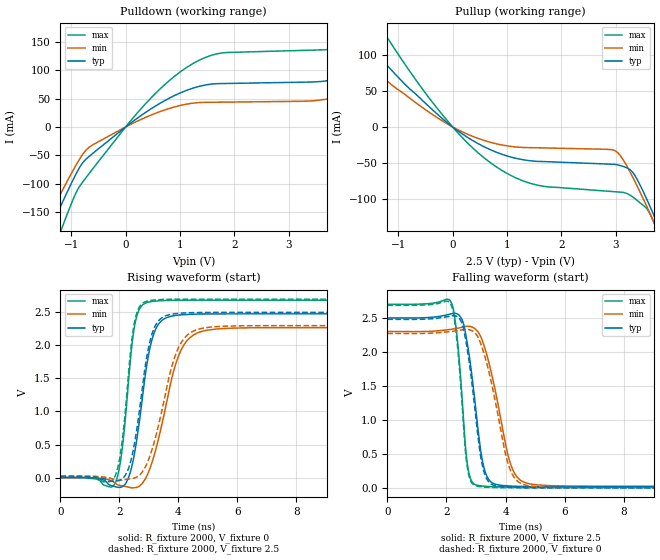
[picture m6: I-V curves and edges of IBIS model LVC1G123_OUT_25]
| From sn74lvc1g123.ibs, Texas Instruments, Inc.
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[Model]   LVC1G123_OUT_25
Model_type  Output
Vref =   0
Rref =   500
Cref =   30p
Vmeas =   1.25
| variable   typ   min   max
C_comp   9.38pF   6.03pF   13.65pF
| C_pullup   9.34pF   6.03pF   10.92pF
| C_pulldown   9.42pF   6.55pF   13.65pF
[Temperature Range]   40   100   -40
| Ambient temperature   25   85   -40
[Voltage range]   2.5   2.3   2.7
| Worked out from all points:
|   slope of the pulldown table from 0 to 0.375 V, typ, clamps not added: 14.3 ohm
|   slope of the pullup table from 0 to 0.375 V, typ, clamps not added: 19.7 ohm
|   rising waveform, R_fixture 2000, V_fixture 0: 20-80 % time 485ps typ, 735ps min, 342ps max; typ from 0 V to 2.48 V
|   falling waveform, R_fixture 2000, V_fixture 2.5: 20-80 % time 420ps typ, 650ps min, 282ps max; typ from 2.5 V to 0.017 V
|   rising waveform, R_fixture 2000, V_fixture 2.5: 20-80 % time 495ps typ, 751ps min, 352ps max; typ from 0.017 V to 2.5 V
|   falling waveform, R_fixture 2000, V_fixture 0: 20-80 % time 421ps typ, 650ps min, 284ps max; typ from 2.48 V to 0 V
[Pulldown]
| LVC1G123_OUT_25
|   Voltage   I(typ)   I(min)   I(max)
-5.5V     -1.031A    -921.5mA   -1.23A
-1.535V   -211.2mA   -180.9mA   -270.7mA
-1.275V   -156.2mA   -132.3mA   -204.1mA
-675mV    -52.23mA   -36.01mA   -82.52mA
490mV     33.46mA    21.9mA     53.61mA
1.36V     71.81mA    43.09mA    118.1mA
3.82V     83.35mA    51.4mA     137.7mA
5.34V     148.9mA    100.4mA    218.6mA
5.845V    177.5mA    48.83mA    262.4mA
6.525V    87.03mA    49.33mA    283.9mA
7.56V     87.48mA    50.23mA    150.1mA
11V       92.62mA    53.44mA    157.7mA
[Pullup]
| LVC1G123_OUT_25
|   Voltage   I(typ)   I(min)   I(max)
-5.5V     516.2mA    405.2mA    722.5mA
-2.33V    185.5mA    141.9mA    265.4mA
-1.875V   143.2mA    108.6mA    206mA
-1.315V   94.24mA    70.54mA    136.9mA
-220mV    13.67mA    9.851mA    19.84mA
735mV     -32.79mA   -22.02mA   -51.56mA
1.56V     -47.6mA    -28.83mA   -80.48mA
2.98V     -51.75mA   -32.61mA   -89.53mA
3.33V     -64.47mA   -71.92mA   -97.68mA
3.575V    -100.5mA   -110.4mA   -113.4mA
3.755V    -131.5mA   -140.1mA   -141.7mA
11V       -1.574A    -1.467A    -1.79A
[Ramp]
| LVC1G123_OUT_25
| variable   typ   min   max
dV/dt_r   1.58/5.17E-10   1.45/7.88E-10   1.70/3.67E-10
dV/dt_f   1.53/4.40E-10   1.41/6.82E-10   1.66/3.01E-10
R_load = 2000
[Rising Waveform]
| LVC1G123_OUT_25
R_fixture =   2000
C_fixture =   0
L_fixture =   0
V_fixture =   0
V_fixture_min = 0
V_fixture_max = 0
|   Time   V(typ)   V(min)   V(max)
0s        137.2pV    6.695nV    2.442nV
1.85ns    -136.8mV   -80.98mV   -87.8mV
2.09ns    -138.8mV   -125.3mV   416.2mV
2.405ns   139.1mV    -154.6mV   1.926V
2.525ns   397.1mV    -152.6mV   2.318V
3.015ns   1.917V     113.3mV    2.658V
3.37ns    2.346V     666.8mV    2.676V
4.03ns    2.459V     1.866V     2.683V
4.98ns    2.475V     2.231V     2.684V
29.99ns   2.477V     2.27V      2.684V
[Falling Waveform]
| LVC1G123_OUT_25
R_fixture =   2000
C_fixture =   0
L_fixture =   0
V_fixture =   2.5
V_fixture_min = 2.3
V_fixture_max = 2.7
|   Time   V(typ)   V(min)   V(max)
0s        2.5V       2.3V       2.7V
2.16ns    2.56V      2.332V     2.728V
2.37ns    2.558V     2.348V     2.175V
2.705ns   2.125V     2.377V     356.6mV
3.045ns   946.9mV    2.308V     38.38mV
3.235ns   360mV      2.137V     26.34mV
3.465ns   104.3mV    1.79V      19.23mV
4.175ns   27mV       342.3mV    12.61mV
4.82ns    19.46mV    58.28mV    11.6mV
29.99ns   16.6mV     22.89mV    11.25mV
[Rising Waveform]
| LVC1G123_OUT_25
R_fixture =   2000
C_fixture =   0
L_fixture =   0
V_fixture =   2.5
V_fixture_min = 2.3
V_fixture_max = 2.7
|   Time   V(typ)   V(min)   V(max)
0s        16.56mV    22.83mV    11.23mV
1.835ns   -52.68mV   -30.67mV   5.6mV
2.08ns    -22.76mV   -38.28mV   500.5mV
2.51ns    510.5mV    -6.638mV   2.342V
2.695ns   1.065V     43.43mV    2.593V
3ns       1.991V     284mV      2.676V
3.325ns   2.372V     787mV      2.692V
3.965ns   2.483V     1.925V     2.699V
4.885ns   2.498V     2.266V     2.7V
29.99ns   2.5V       2.3V       2.7V
[Falling Waveform]
| LVC1G123_OUT_25
R_fixture =   2000
C_fixture =   0
L_fixture =   0
V_fixture =   0
V_fixture_min = 0
V_fixture_max = 0
|   Time   V(typ)   V(min)   V(max)
0s        2.478V     2.272V     2.684V
2.145ns   2.527V     2.299V     2.702V
2.36ns    2.52V      2.312V     2.141V
2.695ns   2.061V     2.33V      334.4mV
3.035ns   868mV      2.242V     24.74mV
3.21ns    337.5mV    2.056V     14.48mV
3.42ns    92.4mV     1.734V     8.073mV
4.11ns    10.02mV    320.6mV    1.432mV
4.735ns   2.785mV    33.38mV    398.1uV
29.99ns   41.49uV    64.73uV    24.83uV
